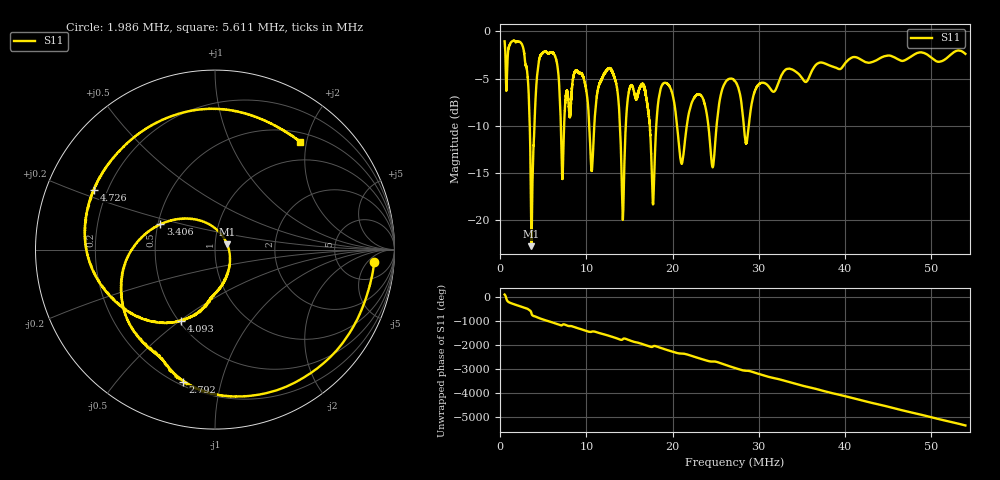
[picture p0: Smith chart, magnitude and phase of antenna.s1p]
! Calibrated high-resolution NanoVNA antenna measurement
# Hz S RI R 50
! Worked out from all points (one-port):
!   40001 points, 500 kHz to 54 MHz, reference 50 ohm
!   lowest |S11| = -22.7 dB at 3.616 MHz (marker M1), VSWR 1.16, Z = 57 + j3.46 ohm
!   |S11| at or under -10 dB: 17.36 MHz to 18.11 MHz (750.4 kHz wide, 4.23 % of centre); 20.53 MHz to 21.65 MHz (1.119 MHz wide, 5.3 % of centre); 24.16 MHz to 25.11 MHz (950.7 kHz wide, 3.86 % of centre)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
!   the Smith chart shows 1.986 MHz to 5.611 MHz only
!   S11 on the Smith chart (normalised r, x): 1.986 MHz: 12, -8; 2.792 MHz: 0.22, -0.76; 3.406 MHz: 0.51, +0.16; 4.093 MHz: 0.51, -0.50; 4.726 MHz: 0.15, +0.23; 5.611 MHz: 0.65, +1.89
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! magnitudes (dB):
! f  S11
! 500 kHz  -1.0
! 1.986 MHz  -1.0
! 2.792 MHz  -2.4
! 3.406 MHz  -9.5
! 3.616 MHz  -22.7
! 4.093 MHz  -7.1
! 4.726 MHz  -2.5
! 5.611 MHz  -2.3
! 6.576 MHz  -3.3
! 7.188 MHz  -15.4
! 8.835 MHz  -4.1
! 10.61 MHz  -14.7
! 12.45 MHz  -4.0
! 13.88 MHz  -9.5
! 14.23 MHz  -19.9
! 15.17 MHz  -5.7
! 16.79 MHz  -6.3
! 17.72 MHz  -18.3
! 18.8 MHz  -5.6
! 20.56 MHz  -10.3
! 23.23 MHz  -6.7
! 24.67 MHz  -14.4
! 27.25 MHz  -5.3
! 28.56 MHz  -11.8
! 33.94 MHz  -4.0
! 40.62 MHz  -2.9
! 47.31 MHz  -2.9
! 54 MHz  -2.4
